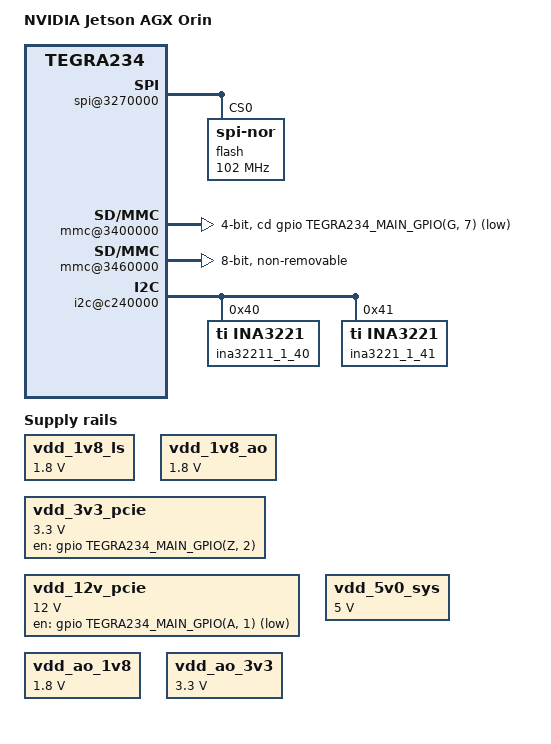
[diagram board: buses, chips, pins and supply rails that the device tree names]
// SPDX-License-Identifier: GPL-2.0

#include "tegra234.dtsi"

/ {
	model = "NVIDIA Jetson AGX Orin";
	compatible = "nvidia,p3701-0000", "nvidia,tegra234";

	vdd_1v8_ls: regulator-vdd-1v8-ls {
		compatible = "regulator-fixed";
		regulator-name = "VDD_1V8_LS";
		regulator-min-microvolt = <1800000>;
		regulator-max-microvolt = <1800000>;
		regulator-always-on;
	};

	vdd_1v8_ao: regulator-vdd-1v8-ao {
		compatible = "regulator-fixed";
		regulator-name = "VDD_1V8_AO";
		regulator-min-microvolt = <1800000>;
		regulator-max-microvolt = <1800000>;
		regulator-always-on;
	};

	vdd_3v3_pcie: regulator-vdd-3v3-pcie {
		compatible = "regulator-fixed";
		regulator-name = "VDD_3V3_PCIE";
		regulator-min-microvolt = <3300000>;
		regulator-max-microvolt = <3300000>;
		gpio = <&gpio TEGRA234_MAIN_GPIO(Z, 2) GPIO_ACTIVE_HIGH>;
		regulator-boot-on;
		enable-active-high;
	};

	vdd_12v_pcie: regulator-vdd-12v-pcie {
		compatible = "regulator-fixed";
		regulator-name = "VDD_12V_PCIE";
		regulator-min-microvolt = <12000000>;
		regulator-max-microvolt = <12000000>;
		gpio = <&gpio TEGRA234_MAIN_GPIO(A, 1) GPIO_ACTIVE_LOW>;
		regulator-boot-on;
		enable-active-low;
	};

	bus@0 {
		spi@3270000 {
			status = "okay";

			flash@0 {
				compatible = "jedec,spi-nor";
				reg = <0>;
				spi-max-frequency = <102000000>;
				spi-tx-bus-width = <4>;
				spi-rx-bus-width = <4>;
			};
		};

		mmc@3400000 {
			status = "okay";
			bus-width = <4>;
			cd-gpios = <&gpio TEGRA234_MAIN_GPIO(G, 7) GPIO_ACTIVE_LOW>;
			disable-wp;
		};

		mmc@3460000 {
			status = "okay";
			bus-width = <8>;
			non-removable;
		};

		padctl@3520000 {
			vclamp-usb-supply = <&vdd_ao_1v8>;
			avdd-usb-supply = <&vdd_ao_3v3>;

			ports {
				usb2-0 {
					vbus-supply = <&vdd_5v0_sys>;
				};

				usb2-1 {
					vbus-supply = <&vdd_5v0_sys>;
				};

				usb2-2 {
					vbus-supply = <&vdd_5v0_sys>;
				};

				usb2-3 {
					vbus-supply = <&vdd_5v0_sys>;
				};
			};
		};

		rtc@c2a0000 {
			status = "okay";
		};

		pmc@c360000 {
			nvidia,invert-interrupt;
		};

		i2c@c240000 {
			status = "okay";

			ina32211_1_40: ina3221@40 {
				compatible = "ti,ina3221";
				reg = <0x40>;
				#address-cells = <1>;
				#size-cells = <0>;
				#io-channel-cells = <1>;
				channel@0 {
					reg = <0x0>;
					label = "VDD_GPU_SOC";
					shunt-resistor-micro-ohms = <2000>;
				};
				channel@1 {
					reg = <0x1>;
					label = "VDD_CPU_CV";
					shunt-resistor-micro-ohms = <2000>;
				};
				channel@2 {
					reg = <0x2>;
					label = "VIN_SYS_5V0";
					shunt-resistor-micro-ohms = <2000>;
				};
			};

			ina3221_1_41: ina3221@41 {
				compatible = "ti,ina3221";
				reg = <0x41>;
				#address-cells = <1>;
				#size-cells = <0>;
				#io-channel-cells = <1>;
				channel@0 {
					reg = <0x0>;
					label = "NC";
				};
				channel@1 {
					reg = <0x1>;
					label = "VDDQ_VDD2_1V8AO";
					shunt-resistor-micro-ohms = <2000>;
				};
				channel@2 {
					reg = <0x2>;
					label = "NC";
				};
			};
		};
	};

	vdd_5v0_sys: regulator@0 {
		compatible = "regulator-fixed";
		regulator-name = "VIN_SYS_5V0";
		regulator-min-microvolt = <5000000>;
		regulator-max-microvolt = <5000000>;
		regulator-always-on;
		regulator-boot-on;
	};

	vdd_ao_1v8: regulator@1 {
		compatible = "regulator-fixed";
		regulator-name = "vdd-AO-1v8";
		regulator-min-microvolt = <1800000>;
		regulator-max-microvolt = <1800000>;
		regulator-always-on;
	};

	vdd_ao_3v3: regulator@2 {
		compatible = "regulator-fixed";
		regulator-name = "vdd-AO-3v3";
		regulator-min-microvolt = <3300000>;
		regulator-max-microvolt = <3300000>;
		regulator-always-on;
	};

	bpmp {
		thermal {
			status = "okay";
		};
	};

	thermal-zones {
		cpu-thermal {
			status = "okay";
		};

		gpu-thermal {
			status = "okay";
		};

		cv0-thermal {
			status = "okay";
		};

		cv1-thermal {
			status = "okay";
		};

		cv2-thermal {
			status = "okay";
		};

		soc0-thermal {
			status = "okay";
		};

		soc1-thermal {
			status = "okay";
		};

		soc2-thermal {
			status = "okay";
		};

		tj-thermal {
			status = "okay";
		};
	};
};
